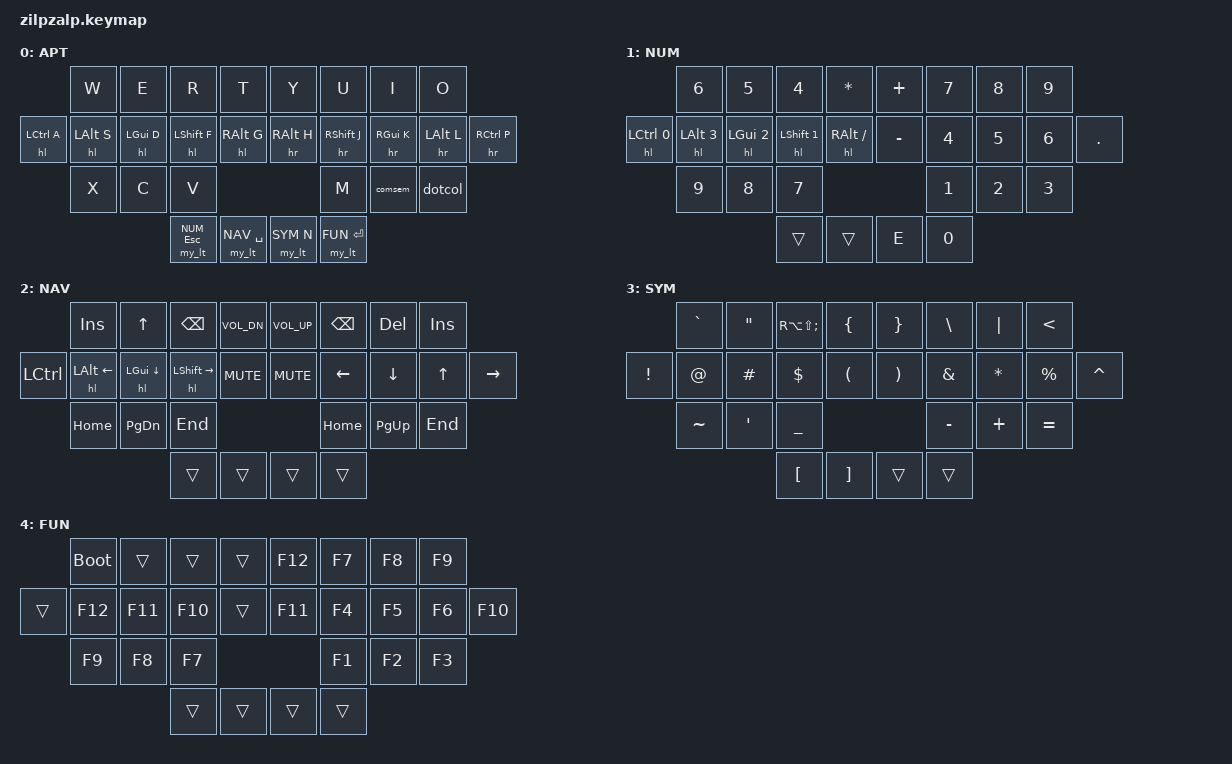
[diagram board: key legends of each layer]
#include "base_zilpzalp.h"


// zilpzalp key numbers
//     __________________________  __________________________
//    /     0  |  1  |  2  |  3  \/   4 |   5 |   6 |   7    \
// |  8  |  9  | 10  | 11  | 12  /\  13 |  14 |  15 |  16 | 17  |
//    \    18  | 19  | 20    /        \    21 |  22 |  23   /
//          \    24  | 25  /            \  26 |  27    /
//           --------------              --------------

/ {

    keymap {
        compatible = "zmk,keymap";

        aptmak {
            label = "APT";

            bindings = <
                               &kp W          &kp E          &kp R          &kp T          &kp Y          &kp U          &kp I          &kp O
                &hl LCTRL A    &hl LALT S     &hl LGUI D     &hl LSHFT F    &hl RALT G     &hr RALT H     &hr RSHFT J    &hr RGUI K     &hr LALT L     &hr RCTRL P
                               &kp X          &kp C          &kp V                                        &kp M          &comsem        &dotcol
                                                             &my_lt NUM ESC &my_lt NAV SPACE &my_lt SYM N &my_lt FUN ENTER
            >;
        };
        numbers {
            label = "NUM";

            bindings = <
                               &kp N6         &kp N5         &kp N4         &kp ASTERISK   &kp PLUS       &kp N7         &kp N8         &kp N9
                &hl LCTRL N0   &hl LALT N3    &hl LGUI N2    &hl LSHFT N1   &hl RALT SLASH &kp MINUS      &kp N4         &kp N5         &kp N6         &kp DOT
                               &kp N9         &kp N8         &kp N7                                       &kp N1         &kp N2         &kp N3
                                                             &trans         &trans         &kp E          &kp N0
            >;
        };
        navigation {
            label = "NAV";

            bindings = <
                               &kp INSERT     &kp UP         &kp BSPC        &kp C_VOL_DN   &kp C_VOL_UP   &kp BSPC       &kp DEL        &kp INSERT
                &kp LCTRL      &hl LALT LEFT  &hl LGUI DOWN  &hl LSHFT RIGHT &kp C_MUTE     &kp C_MUTE     &kp LEFT       &kp DOWN       &kp UP         &kp RIGHT
                               &kp HOME       &kp PG_DN      &kp END                                       &kp HOME       &kp PG_UP      &kp END
                                                             &trans          &trans         &trans         &trans
            >;
        };
        symbols {
            label = "SYM";

            bindings = <
                               &kp GRAVE      &kp DQT        &kp RA(LS(SEMI)) &kp LBRC       &kp RBRC       &kp BACKSLASH  &kp PIPE       &kp LT
                &kp EXCL       &kp AT         &kp HASH       &kp DOLLAR       &kp LPAR       &kp RPAR       &kp AMPERSAND  &kp ASTERISK   &kp PERCENT    &kp CARET
                               &kp TILDE      &kp SQT        &kp UNDERSCORE                                 &kp MINUS      &kp PLUS       &kp EQUAL
                                                             &kp LBKT         &kp RBKT       &trans         &trans
            >;
        };
        function {
            label = "FUN";

            bindings = <
                               &bootloader    &trans         &trans         &trans         &kp F12        &kp F7         &kp F8         &kp F9
                &trans         &kp F12        &kp F11        &kp F10        &trans         &kp F11        &kp F4         &kp F5         &kp F6         &kp F10
                               &kp F9         &kp F8         &kp F7                                       &kp F1         &kp F2         &kp F3
                                                             &trans         &trans         &trans         &trans
            >;
            //                   &bootloader    &trans         &bt BT_CLR     &bt BT_PRV     &kp F12        &kp F7         &kp F8         &kp F9
            //    &trans         &trans         &trans         &trans         &bt BT_NXT     &kp F11        &kp F4         &kp F5         &kp F6         &kp F10
            //                   &trans         &trans         &trans                                       &kp F1         &kp F2         &kp F3
            //                                                 &out OUT_TOG   &trans         &trans         &trans
        };

    };
};

//     __________________________  __________________________
//    /     1  |  2  |  3  |  4  \/   5 |   6 |   7 |   8    \
// | 10  | 11  | 12  | 13  | 14  ||  15 |  16 |  17 |  18 | 19  |
//    \    20  | 21  | 22  |     ||     |  23 |  24 |  25   /
//                \    26  | 27  /\  28 |  29    /
//                 --------------  --------------
